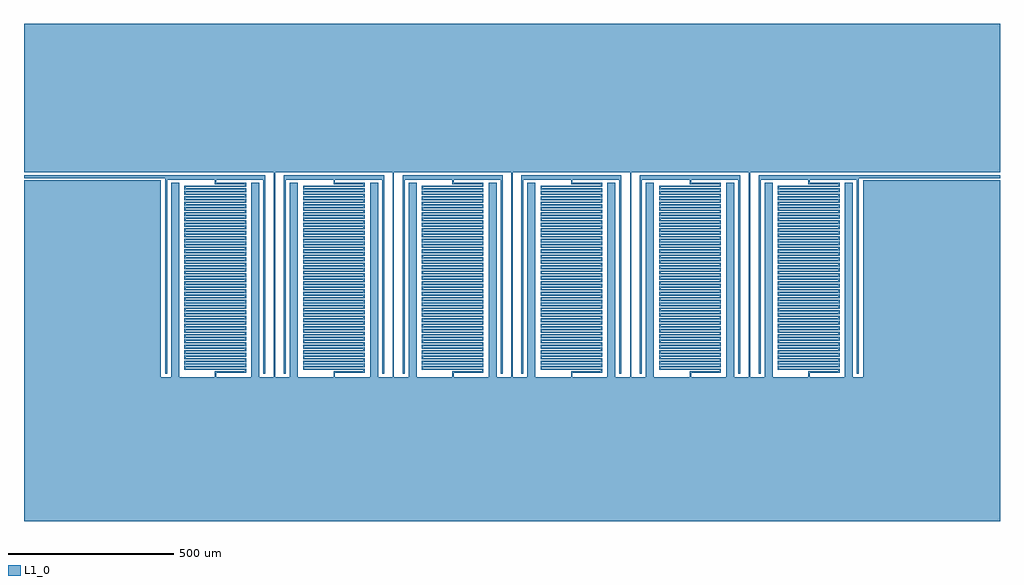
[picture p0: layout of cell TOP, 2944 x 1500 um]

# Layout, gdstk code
import gdstk
lib = gdstk.Library(unit=1e-6, precision=1e-09)
def R(c, l, rs):  # rectangles x0, y0, x1, y1
    for r in rs: c.add(gdstk.rectangle(r[:2], r[2:], *l))
def A(c, l, x, y, w, h, nx, ny, dx, dy):  # array of equal rectangles
    R(c, l, [(x+i*dx, y+j*dy, x+i*dx+w, y+j*dy+h) for i in range(nx) for j in range(ny)])
def P(c, l, *ps):  # polygons
    for p in ps: c.add(gdstk.Polygon(p, *l))
L1_0 = (1, 0)

top = lib.new_cell('TOP')
A(top, L1_0, 754, 434, 4, 618, 4, 1, 358, 0)
R(top, L1_0, [(444,434,468,1020), (686,434,710,1020), (802,434,826,1020), (1044,434,1068,1020), (1160,434,1184,1020), (1402,434,1426,1020), (1518,434,1542,1020), (1760,434,1784,1020), (1876,434,1900,1020), (2118,434,2142,1020), (2234,434,2258,1020), (2476,434,2500,1020), (0,1034,578,1044), (2368,1034,2944,1044)])
P(top, L1_0, [(426,444),(432,444),(432,1030),(722,1030),(722,444),(728,444),(728,1044),(426,1044)],
  [(580,448),(670,448),(670,460),(488,460),(488,464),(670,464),(670,476),(488,476),(488,480),(670,480),(670,492),(488,492),(488,496),(670,496),(670,508),(488,508),(488,512),(670,512),(670,524),(488,524),(488,528),(670,528),(670,540),(488,540),(488,544),(670,544),(670,556),(488,556),(488,560),(670,560),(670,572),(488,572),(488,576),(670,576),(670,588),(488,588),(488,592),(670,592),(670,604),(488,604),(488,608),(670,608),(670,620),(488,620),(488,624),(670,624),(670,636),(488,636),(488,640),(670,640),(670,652),(488,652),(488,656),(670,656),(670,668),(488,668),(488,672),(670,672),(670,684),(488,684),(488,688),(670,688),(670,700),(488,700),(488,704),(670,704),(670,716),(488,716),(488,720),(670,720),(670,732),(488,732),(488,736),(484,736),(484,728),(666,728),(666,724),(484,724),(484,712),(666,712),(666,708),(484,708),(484,696),(666,696),(666,692),(484,692),(484,680),(666,680),(666,676),(484,676),(484,664),(666,664),(666,660),(484,660),(484,648),(666,648),(666,644),(484,644),(484,632),(666,632),(666,628),(484,628),(484,616),(666,616),(666,612),(484,612),(484,600),(666,600),(666,596),(484,596),(484,584),(666,584),(666,580),(484,580),(484,568),(666,568),(666,564),(484,564),(484,552),(666,552),(666,548),(484,548),(484,536),(666,536),(666,532),(484,532),(484,520),(666,520),(666,516),(484,516),(484,504),(666,504),(666,500),(484,500),(484,488),(666,488),(666,484),(484,484),(484,472),(666,472),(666,468),(484,468),(484,456),(666,456),(666,452),(576,452),(576,434),(580,434)],
  [(670,748),(488,748),(488,752),(670,752),(670,764),(488,764),(488,768),(670,768),(670,780),(488,780),(488,784),(670,784),(670,796),(488,796),(488,800),(670,800),(670,812),(488,812),(488,816),(670,816),(670,828),(488,828),(488,832),(670,832),(670,844),(488,844),(488,848),(670,848),(670,860),(488,860),(488,864),(670,864),(670,876),(488,876),(488,880),(670,880),(670,892),(488,892),(488,896),(670,896),(670,908),(488,908),(488,912),(670,912),(670,924),(488,924),(488,928),(670,928),(670,940),(488,940),(488,944),(670,944),(670,956),(488,956),(488,960),(670,960),(670,972),(488,972),(488,976),(670,976),(670,988),(488,988),(488,992),(670,992),(670,1004),(488,1004),(488,1008),(670,1008),(670,1020),(580,1020),(580,1030),(576,1030),(576,1016),(666,1016),(666,1012),(484,1012),(484,1000),(666,1000),(666,996),(484,996),(484,984),(666,984),(666,980),(484,980),(484,968),(666,968),(666,964),(484,964),(484,952),(666,952),(666,948),(484,948),(484,936),(666,936),(666,932),(484,932),(484,920),(666,920),(666,916),(484,916),(484,904),(666,904),(666,900),(484,900),(484,888),(666,888),(666,884),(484,884),(484,872),(666,872),(666,868),(484,868),(484,856),(666,856),(666,852),(484,852),(484,840),(666,840),(666,836),(484,836),(484,824),(666,824),(666,820),(484,820),(484,808),(666,808),(666,804),(484,804),(484,792),(666,792),(666,788),(484,788),(484,776),(666,776),(666,772),(484,772),(484,760),(666,760),(666,756),(484,756),(484,744),(666,744),(666,740),(484,740),(484,736),(670,736)],
  [(784,444),(790,444),(790,1030),(1080,1030),(1080,444),(1086,444),(1086,1044),(784,1044)],
  [(938,448),(1028,448),(1028,460),(846,460),(846,464),(1028,464),(1028,476),(846,476),(846,480),(1028,480),(1028,492),(846,492),(846,496),(1028,496),(1028,508),(846,508),(846,512),(1028,512),(1028,524),(846,524),(846,528),(1028,528),(1028,540),(846,540),(846,544),(1028,544),(1028,556),(846,556),(846,560),(1028,560),(1028,572),(846,572),(846,576),(1028,576),(1028,588),(846,588),(846,592),(1028,592),(1028,604),(846,604),(846,608),(1028,608),(1028,620),(846,620),(846,624),(1028,624),(1028,636),(846,636),(846,640),(1028,640),(1028,652),(846,652),(846,656),(1028,656),(1028,668),(846,668),(846,672),(1028,672),(1028,684),(846,684),(846,688),(1028,688),(1028,700),(846,700),(846,704),(1028,704),(1028,716),(846,716),(846,720),(1028,720),(1028,732),(846,732),(846,736),(842,736),(842,728),(1024,728),(1024,724),(842,724),(842,712),(1024,712),(1024,708),(842,708),(842,696),(1024,696),(1024,692),(842,692),(842,680),(1024,680),(1024,676),(842,676),(842,664),(1024,664),(1024,660),(842,660),(842,648),(1024,648),(1024,644),(842,644),(842,632),(1024,632),(1024,628),(842,628),(842,616),(1024,616),(1024,612),(842,612),(842,600),(1024,600),(1024,596),(842,596),(842,584),(1024,584),(1024,580),(842,580),(842,568),(1024,568),(1024,564),(842,564),(842,552),(1024,552),(1024,548),(842,548),(842,536),(1024,536),(1024,532),(842,532),(842,520),(1024,520),(1024,516),(842,516),(842,504),(1024,504),(1024,500),(842,500),(842,488),(1024,488),(1024,484),(842,484),(842,472),(1024,472),(1024,468),(842,468),(842,456),(1024,456),(1024,452),(934,452),(934,434),(938,434)],
  [(1028,748),(846,748),(846,752),(1028,752),(1028,764),(846,764),(846,768),(1028,768),(1028,780),(846,780),(846,784),(1028,784),(1028,796),(846,796),(846,800),(1028,800),(1028,812),(846,812),(846,816),(1028,816),(1028,828),(846,828),(846,832),(1028,832),(1028,844),(846,844),(846,848),(1028,848),(1028,860),(846,860),(846,864),(1028,864),(1028,876),(846,876),(846,880),(1028,880),(1028,892),(846,892),(846,896),(1028,896),(1028,908),(846,908),(846,912),(1028,912),(1028,924),(846,924),(846,928),(1028,928),(1028,940),(846,940),(846,944),(1028,944),(1028,956),(846,956),(846,960),(1028,960),(1028,972),(846,972),(846,976),(1028,976),(1028,988),(846,988),(846,992),(1028,992),(1028,1004),(846,1004),(846,1008),(1028,1008),(1028,1020),(938,1020),(938,1030),(934,1030),(934,1016),(1024,1016),(1024,1012),(842,1012),(842,1000),(1024,1000),(1024,996),(842,996),(842,984),(1024,984),(1024,980),(842,980),(842,968),(1024,968),(1024,964),(842,964),(842,952),(1024,952),(1024,948),(842,948),(842,936),(1024,936),(1024,932),(842,932),(842,920),(1024,920),(1024,916),(842,916),(842,904),(1024,904),(1024,900),(842,900),(842,888),(1024,888),(1024,884),(842,884),(842,872),(1024,872),(1024,868),(842,868),(842,856),(1024,856),(1024,852),(842,852),(842,840),(1024,840),(1024,836),(842,836),(842,824),(1024,824),(1024,820),(842,820),(842,808),(1024,808),(1024,804),(842,804),(842,792),(1024,792),(1024,788),(842,788),(842,776),(1024,776),(1024,772),(842,772),(842,760),(1024,760),(1024,756),(842,756),(842,744),(1024,744),(1024,740),(842,740),(842,736),(1028,736)],
  [(1142,444),(1148,444),(1148,1030),(1438,1030),(1438,444),(1444,444),(1444,1044),(1142,1044)],
  [(1296,448),(1386,448),(1386,460),(1204,460),(1204,464),(1386,464),(1386,476),(1204,476),(1204,480),(1386,480),(1386,492),(1204,492),(1204,496),(1386,496),(1386,508),(1204,508),(1204,512),(1386,512),(1386,524),(1204,524),(1204,528),(1386,528),(1386,540),(1204,540),(1204,544),(1386,544),(1386,556),(1204,556),(1204,560),(1386,560),(1386,572),(1204,572),(1204,576),(1386,576),(1386,588),(1204,588),(1204,592),(1386,592),(1386,604),(1204,604),(1204,608),(1386,608),(1386,620),(1204,620),(1204,624),(1386,624),(1386,636),(1204,636),(1204,640),(1386,640),(1386,652),(1204,652),(1204,656),(1386,656),(1386,668),(1204,668),(1204,672),(1386,672),(1386,684),(1204,684),(1204,688),(1386,688),(1386,700),(1204,700),(1204,704),(1386,704),(1386,716),(1204,716),(1204,720),(1386,720),(1386,732),(1204,732),(1204,736),(1200,736),(1200,728),(1382,728),(1382,724),(1200,724),(1200,712),(1382,712),(1382,708),(1200,708),(1200,696),(1382,696),(1382,692),(1200,692),(1200,680),(1382,680),(1382,676),(1200,676),(1200,664),(1382,664),(1382,660),(1200,660),(1200,648),(1382,648),(1382,644),(1200,644),(1200,632),(1382,632),(1382,628),(1200,628),(1200,616),(1382,616),(1382,612),(1200,612),(1200,600),(1382,600),(1382,596),(1200,596),(1200,584),(1382,584),(1382,580),(1200,580),(1200,568),(1382,568),(1382,564),(1200,564),(1200,552),(1382,552),(1382,548),(1200,548),(1200,536),(1382,536),(1382,532),(1200,532),(1200,520),(1382,520),(1382,516),(1200,516),(1200,504),(1382,504),(1382,500),(1200,500),(1200,488),(1382,488),(1382,484),(1200,484),(1200,472),(1382,472),(1382,468),(1200,468),(1200,456),(1382,456),(1382,452),(1292,452),(1292,434),(1296,434)],
  [(1386,748),(1204,748),(1204,752),(1386,752),(1386,764),(1204,764),(1204,768),(1386,768),(1386,780),(1204,780),(1204,784),(1386,784),(1386,796),(1204,796),(1204,800),(1386,800),(1386,812),(1204,812),(1204,816),(1386,816),(1386,828),(1204,828),(1204,832),(1386,832),(1386,844),(1204,844),(1204,848),(1386,848),(1386,860),(1204,860),(1204,864),(1386,864),(1386,876),(1204,876),(1204,880),(1386,880),(1386,892),(1204,892),(1204,896),(1386,896),(1386,908),(1204,908),(1204,912),(1386,912),(1386,924),(1204,924),(1204,928),(1386,928),(1386,940),(1204,940),(1204,944),(1386,944),(1386,956),(1204,956),(1204,960),(1386,960),(1386,972),(1204,972),(1204,976),(1386,976),(1386,988),(1204,988),(1204,992),(1386,992),(1386,1004),(1204,1004),(1204,1008),(1386,1008),(1386,1020),(1296,1020),(1296,1030),(1292,1030),(1292,1016),(1382,1016),(1382,1012),(1200,1012),(1200,1000),(1382,1000),(1382,996),(1200,996),(1200,984),(1382,984),(1382,980),(1200,980),(1200,968),(1382,968),(1382,964),(1200,964),(1200,952),(1382,952),(1382,948),(1200,948),(1200,936),(1382,936),(1382,932),(1200,932),(1200,920),(1382,920),(1382,916),(1200,916),(1200,904),(1382,904),(1382,900),(1200,900),(1200,888),(1382,888),(1382,884),(1200,884),(1200,872),(1382,872),(1382,868),(1200,868),(1200,856),(1382,856),(1382,852),(1200,852),(1200,840),(1382,840),(1382,836),(1200,836),(1200,824),(1382,824),(1382,820),(1200,820),(1200,808),(1382,808),(1382,804),(1200,804),(1200,792),(1382,792),(1382,788),(1200,788),(1200,776),(1382,776),(1382,772),(1200,772),(1200,760),(1382,760),(1382,756),(1200,756),(1200,744),(1382,744),(1382,740),(1200,740),(1200,736),(1386,736)],
  [(1500,444),(1506,444),(1506,1030),(1796,1030),(1796,444),(1802,444),(1802,1044),(1500,1044)],
  [(1654,448),(1744,448),(1744,460),(1562,460),(1562,464),(1744,464),(1744,476),(1562,476),(1562,480),(1744,480),(1744,492),(1562,492),(1562,496),(1744,496),(1744,508),(1562,508),(1562,512),(1744,512),(1744,524),(1562,524),(1562,528),(1744,528),(1744,540),(1562,540),(1562,544),(1744,544),(1744,556),(1562,556),(1562,560),(1744,560),(1744,572),(1562,572),(1562,576),(1744,576),(1744,588),(1562,588),(1562,592),(1744,592),(1744,604),(1562,604),(1562,608),(1744,608),(1744,620),(1562,620),(1562,624),(1744,624),(1744,636),(1562,636),(1562,640),(1744,640),(1744,652),(1562,652),(1562,656),(1744,656),(1744,668),(1562,668),(1562,672),(1744,672),(1744,684),(1562,684),(1562,688),(1744,688),(1744,700),(1562,700),(1562,704),(1744,704),(1744,716),(1562,716),(1562,720),(1744,720),(1744,732),(1562,732),(1562,736),(1558,736),(1558,728),(1740,728),(1740,724),(1558,724),(1558,712),(1740,712),(1740,708),(1558,708),(1558,696),(1740,696),(1740,692),(1558,692),(1558,680),(1740,680),(1740,676),(1558,676),(1558,664),(1740,664),(1740,660),(1558,660),(1558,648),(1740,648),(1740,644),(1558,644),(1558,632),(1740,632),(1740,628),(1558,628),(1558,616),(1740,616),(1740,612),(1558,612),(1558,600),(1740,600),(1740,596),(1558,596),(1558,584),(1740,584),(1740,580),(1558,580),(1558,568),(1740,568),(1740,564),(1558,564),(1558,552),(1740,552),(1740,548),(1558,548),(1558,536),(1740,536),(1740,532),(1558,532),(1558,520),(1740,520),(1740,516),(1558,516),(1558,504),(1740,504),(1740,500),(1558,500),(1558,488),(1740,488),(1740,484),(1558,484),(1558,472),(1740,472),(1740,468),(1558,468),(1558,456),(1740,456),(1740,452),(1650,452),(1650,434),(1654,434)],
  [(1744,748),(1562,748),(1562,752),(1744,752),(1744,764),(1562,764),(1562,768),(1744,768),(1744,780),(1562,780),(1562,784),(1744,784),(1744,796),(1562,796),(1562,800),(1744,800),(1744,812),(1562,812),(1562,816),(1744,816),(1744,828),(1562,828),(1562,832),(1744,832),(1744,844),(1562,844),(1562,848),(1744,848),(1744,860),(1562,860),(1562,864),(1744,864),(1744,876),(1562,876),(1562,880),(1744,880),(1744,892),(1562,892),(1562,896),(1744,896),(1744,908),(1562,908),(1562,912),(1744,912),(1744,924),(1562,924),(1562,928),(1744,928),(1744,940),(1562,940),(1562,944),(1744,944),(1744,956),(1562,956),(1562,960),(1744,960),(1744,972),(1562,972),(1562,976),(1744,976),(1744,988),(1562,988),(1562,992),(1744,992),(1744,1004),(1562,1004),(1562,1008),(1744,1008),(1744,1020),(1654,1020),(1654,1030),(1650,1030),(1650,1016),(1740,1016),(1740,1012),(1558,1012),(1558,1000),(1740,1000),(1740,996),(1558,996),(1558,984),(1740,984),(1740,980),(1558,980),(1558,968),(1740,968),(1740,964),(1558,964),(1558,952),(1740,952),(1740,948),(1558,948),(1558,936),(1740,936),(1740,932),(1558,932),(1558,920),(1740,920),(1740,916),(1558,916),(1558,904),(1740,904),(1740,900),(1558,900),(1558,888),(1740,888),(1740,884),(1558,884),(1558,872),(1740,872),(1740,868),(1558,868),(1558,856),(1740,856),(1740,852),(1558,852),(1558,840),(1740,840),(1740,836),(1558,836),(1558,824),(1740,824),(1740,820),(1558,820),(1558,808),(1740,808),(1740,804),(1558,804),(1558,792),(1740,792),(1740,788),(1558,788),(1558,776),(1740,776),(1740,772),(1558,772),(1558,760),(1740,760),(1740,756),(1558,756),(1558,744),(1740,744),(1740,740),(1558,740),(1558,736),(1744,736)],
  [(1858,444),(1864,444),(1864,1030),(2154,1030),(2154,444),(2160,444),(2160,1044),(1858,1044)],
  [(2012,448),(2102,448),(2102,460),(1920,460),(1920,464),(2102,464),(2102,476),(1920,476),(1920,480),(2102,480),(2102,492),(1920,492),(1920,496),(2102,496),(2102,508),(1920,508),(1920,512),(2102,512),(2102,524),(1920,524),(1920,528),(2102,528),(2102,540),(1920,540),(1920,544),(2102,544),(2102,556),(1920,556),(1920,560),(2102,560),(2102,572),(1920,572),(1920,576),(2102,576),(2102,588),(1920,588),(1920,592),(2102,592),(2102,604),(1920,604),(1920,608),(2102,608),(2102,620),(1920,620),(1920,624),(2102,624),(2102,636),(1920,636),(1920,640),(2102,640),(2102,652),(1920,652),(1920,656),(2102,656),(2102,668),(1920,668),(1920,672),(2102,672),(2102,684),(1920,684),(1920,688),(2102,688),(2102,700),(1920,700),(1920,704),(2102,704),(2102,716),(1920,716),(1920,720),(2102,720),(2102,732),(1920,732),(1920,736),(1916,736),(1916,728),(2098,728),(2098,724),(1916,724),(1916,712),(2098,712),(2098,708),(1916,708),(1916,696),(2098,696),(2098,692),(1916,692),(1916,680),(2098,680),(2098,676),(1916,676),(1916,664),(2098,664),(2098,660),(1916,660),(1916,648),(2098,648),(2098,644),(1916,644),(1916,632),(2098,632),(2098,628),(1916,628),(1916,616),(2098,616),(2098,612),(1916,612),(1916,600),(2098,600),(2098,596),(1916,596),(1916,584),(2098,584),(2098,580),(1916,580),(1916,568),(2098,568),(2098,564),(1916,564),(1916,552),(2098,552),(2098,548),(1916,548),(1916,536),(2098,536),(2098,532),(1916,532),(1916,520),(2098,520),(2098,516),(1916,516),(1916,504),(2098,504),(2098,500),(1916,500),(1916,488),(2098,488),(2098,484),(1916,484),(1916,472),(2098,472),(2098,468),(1916,468),(1916,456),(2098,456),(2098,452),(2008,452),(2008,434),(2012,434)],
  [(2102,748),(1920,748),(1920,752),(2102,752),(2102,764),(1920,764),(1920,768),(2102,768),(2102,780),(1920,780),(1920,784),(2102,784),(2102,796),(1920,796),(1920,800),(2102,800),(2102,812),(1920,812),(1920,816),(2102,816),(2102,828),(1920,828),(1920,832),(2102,832),(2102,844),(1920,844),(1920,848),(2102,848),(2102,860),(1920,860),(1920,864),(2102,864),(2102,876),(1920,876),(1920,880),(2102,880),(2102,892),(1920,892),(1920,896),(2102,896),(2102,908),(1920,908),(1920,912),(2102,912),(2102,924),(1920,924),(1920,928),(2102,928),(2102,940),(1920,940),(1920,944),(2102,944),(2102,956),(1920,956),(1920,960),(2102,960),(2102,972),(1920,972),(1920,976),(2102,976),(2102,988),(1920,988),(1920,992),(2102,992),(2102,1004),(1920,1004),(1920,1008),(2102,1008),(2102,1020),(2012,1020),(2012,1030),(2008,1030),(2008,1016),(2098,1016),(2098,1012),(1916,1012),(1916,1000),(2098,1000),(2098,996),(1916,996),(1916,984),(2098,984),(2098,980),(1916,980),(1916,968),(2098,968),(2098,964),(1916,964),(1916,952),(2098,952),(2098,948),(1916,948),(1916,936),(2098,936),(2098,932),(1916,932),(1916,920),(2098,920),(2098,916),(1916,916),(1916,904),(2098,904),(2098,900),(1916,900),(1916,888),(2098,888),(2098,884),(1916,884),(1916,872),(2098,872),(2098,868),(1916,868),(1916,856),(2098,856),(2098,852),(1916,852),(1916,840),(2098,840),(2098,836),(1916,836),(1916,824),(2098,824),(2098,820),(1916,820),(1916,808),(2098,808),(2098,804),(1916,804),(1916,792),(2098,792),(2098,788),(1916,788),(1916,776),(2098,776),(2098,772),(1916,772),(1916,760),(2098,760),(2098,756),(1916,756),(1916,744),(2098,744),(2098,740),(1916,740),(1916,736),(2102,736)],
  [(2216,444),(2222,444),(2222,1030),(2512,1030),(2512,444),(2518,444),(2518,1044),(2216,1044)],
  [(2370,448),(2460,448),(2460,460),(2278,460),(2278,464),(2460,464),(2460,476),(2278,476),(2278,480),(2460,480),(2460,492),(2278,492),(2278,496),(2460,496),(2460,508),(2278,508),(2278,512),(2460,512),(2460,524),(2278,524),(2278,528),(2460,528),(2460,540),(2278,540),(2278,544),(2460,544),(2460,556),(2278,556),(2278,560),(2460,560),(2460,572),(2278,572),(2278,576),(2460,576),(2460,588),(2278,588),(2278,592),(2460,592),(2460,604),(2278,604),(2278,608),(2460,608),(2460,620),(2278,620),(2278,624),(2460,624),(2460,636),(2278,636),(2278,640),(2460,640),(2460,652),(2278,652),(2278,656),(2460,656),(2460,668),(2278,668),(2278,672),(2460,672),(2460,684),(2278,684),(2278,688),(2460,688),(2460,700),(2278,700),(2278,704),(2460,704),(2460,716),(2278,716),(2278,720),(2460,720),(2460,732),(2278,732),(2278,736),(2274,736),(2274,728),(2456,728),(2456,724),(2274,724),(2274,712),(2456,712),(2456,708),(2274,708),(2274,696),(2456,696),(2456,692),(2274,692),(2274,680),(2456,680),(2456,676),(2274,676),(2274,664),(2456,664),(2456,660),(2274,660),(2274,648),(2456,648),(2456,644),(2274,644),(2274,632),(2456,632),(2456,628),(2274,628),(2274,616),(2456,616),(2456,612),(2274,612),(2274,600),(2456,600),(2456,596),(2274,596),(2274,584),(2456,584),(2456,580),(2274,580),(2274,568),(2456,568),(2456,564),(2274,564),(2274,552),(2456,552),(2456,548),(2274,548),(2274,536),(2456,536),(2456,532),(2274,532),(2274,520),(2456,520),(2456,516),(2274,516),(2274,504),(2456,504),(2456,500),(2274,500),(2274,488),(2456,488),(2456,484),(2274,484),(2274,472),(2456,472),(2456,468),(2274,468),(2274,456),(2456,456),(2456,452),(2366,452),(2366,434),(2370,434)],
  [(2460,748),(2278,748),(2278,752),(2460,752),(2460,764),(2278,764),(2278,768),(2460,768),(2460,780),(2278,780),(2278,784),(2460,784),(2460,796),(2278,796),(2278,800),(2460,800),(2460,812),(2278,812),(2278,816),(2460,816),(2460,828),(2278,828),(2278,832),(2460,832),(2460,844),(2278,844),(2278,848),(2460,848),(2460,860),(2278,860),(2278,864),(2460,864),(2460,876),(2278,876),(2278,880),(2460,880),(2460,892),(2278,892),(2278,896),(2460,896),(2460,908),(2278,908),(2278,912),(2460,912),(2460,924),(2278,924),(2278,928),(2460,928),(2460,940),(2278,940),(2278,944),(2460,944),(2460,956),(2278,956),(2278,960),(2460,960),(2460,972),(2278,972),(2278,976),(2460,976),(2460,988),(2278,988),(2278,992),(2460,992),(2460,1004),(2278,1004),(2278,1008),(2460,1008),(2460,1020),(2370,1020),(2370,1030),(2366,1030),(2366,1016),(2456,1016),(2456,1012),(2274,1012),(2274,1000),(2456,1000),(2456,996),(2274,996),(2274,984),(2456,984),(2456,980),(2274,980),(2274,968),(2456,968),(2456,964),(2274,964),(2274,952),(2456,952),(2456,948),(2274,948),(2274,936),(2456,936),(2456,932),(2274,932),(2274,920),(2456,920),(2456,916),(2274,916),(2274,904),(2456,904),(2456,900),(2274,900),(2274,888),(2456,888),(2456,884),(2274,884),(2274,872),(2456,872),(2456,868),(2274,868),(2274,856),(2456,856),(2456,852),(2274,852),(2274,840),(2456,840),(2456,836),(2274,836),(2274,824),(2456,824),(2456,820),(2274,820),(2274,808),(2456,808),(2456,804),(2274,804),(2274,792),(2456,792),(2456,788),(2274,788),(2274,776),(2456,776),(2456,772),(2274,772),(2274,760),(2456,760),(2456,756),(2274,756),(2274,744),(2456,744),(2456,740),(2274,740),(2274,736),(2460,736)],
  [(2190,434),(2190,1052),(2944,1052),(2944,1500),(0,1500),(0,1052),(2186,1052),(2186,434)],
  [(2532,1028),(2532,434),(412,434),(412,1028),(0,1028),(0,0),(2944,0),(2944,1028)])

lib.write_gds('TOP.gds')
